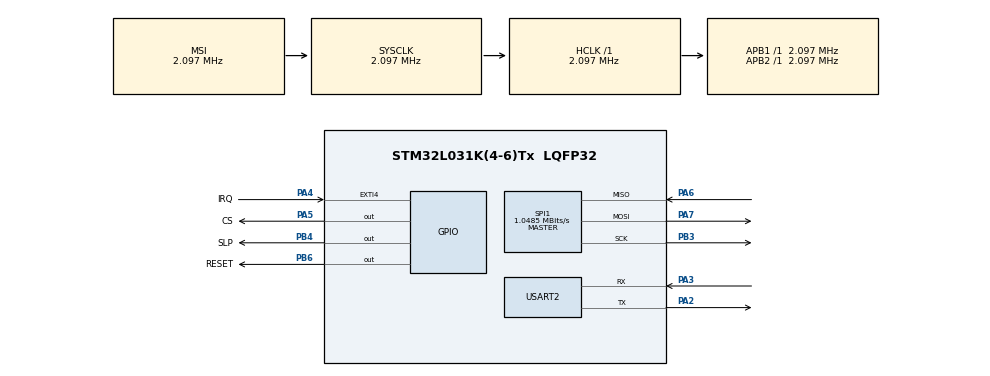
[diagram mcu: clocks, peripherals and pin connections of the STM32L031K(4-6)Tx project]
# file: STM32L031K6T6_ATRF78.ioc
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Mcu.Family=STM32L0
Mcu.Name=STM32L031K(4-6)Tx
Mcu.Package=LQFP32
NVIC.EXTI4_15_IRQn=true\:0\:0\:false\:false\:true\:true\:true\:true
PA2.Mode=Asynchronous
PA2.Signal=USART2_TX
PA3.Mode=Asynchronous
PA3.Signal=USART2_RX
PA4.GPIO_Label=IRQ
PA4.Signal=GPXTI4
PA5.GPIO_Label=CS
PA5.Signal=GPIO_Output
PA6.Mode=Full_Duplex_Master
PA6.Signal=SPI1_MISO
PA7.Mode=Full_Duplex_Master
PA7.Signal=SPI1_MOSI
PB3.Mode=Full_Duplex_Master
PB3.Signal=SPI1_SCK
PB4.GPIO_Label=SLP
PB4.Signal=GPIO_Output
PB6.GPIO_Label=RESET
PB6.Signal=GPIO_Output
ProjectManager.HeapSize=0x200
ProjectManager.StackSize=0x400
ProjectManager.TargetToolchain=STM32CubeIDE
RCC.AHBFreq_Value=2097000
RCC.APB1Freq_Value=2097000
RCC.APB1TimFreq_Value=2097000
RCC.APB2Freq_Value=2097000
RCC.APB2TimFreq_Value=2097000
RCC.HSE_VALUE=8000000
RCC.HSI16_VALUE=16000000
RCC.HSI_VALUE=16000000
RCC.LSE_VALUE=32768
RCC.MSI_VALUE=2097000
RCC.SYSCLKFreq_VALUE=2097000
RCC.VCOOutputFreq_Value=48000000
SPI1.CalculateBaudRate=1.0485 MBits/s
SPI1.Direction=SPI_DIRECTION_2LINES
SPI1.Mode=SPI_MODE_MASTER
SPI1.VirtualType=VM_MASTER
USART2.VirtualMode-Asynchronous=VM_ASYNC
board=custom

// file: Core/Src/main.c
/* USER CODE BEGIN Header */
/**
 ******************************************************************************
 * @file           : main.c
 * @brief          : Main program body
 ******************************************************************************
 * @attention
 *
 * Copyright (c) 2026 STMicroelectronics.
 * All rights reserved.
 *
 * This software is licensed under terms that can be found in the LICENSE file
 * in the root directory of this software component.
 * If no LICENSE file comes with this software, it is provided AS-IS.
 *
 ******************************************************************************
 */
/* USER CODE END Header */
#include "main.h"
#include "spi.h"
#include "usart.h"
#include "gpio.h"

/* USER CODE BEGIN PTD */

#define RSSI_THRESHOLD       4    // порог для RADIO CLOSE
#define RSSI_ON_COUNT        50   // сколько подтверждений нужно для включения
#define RSSI_OFF_COUNT       150   // сколько подтверждений нужно для выключения
#define RSSI_THRESHOLD_LOW   1
#define RSSI_THRESHOLD_CLOSE 6    // порог для RADIO NEAR

/* USER CODE END PTD */

/* USER CODE BEGIN PM */

// Перечисление возможных состояний связи
typedef enum {
	STATE_LOST, STATE_CLOSE, STATE_NEAR
} connection_state_t;

volatile uint32_t last_connected_change_ms = 0;

/* counters for debounce */
static uint8_t rssi_ok_count = 0;   // счётчик для CLOSE (RSSI >=4)
static uint8_t rssi_near_count = 0;   // счётчик для NEAR (RSSI >=6)
static uint8_t rssi_low_count = 0;   // счётчик для LOST

static connection_state_t current_state = STATE_LOST;
static uint8_t led_state = 0;     // 1 – есть связь (CLOSE или NEAR), 0 – потеря

/* USER CODE END PTD */

/* Private define ------------------------------------------------------------*/
/* USER CODE BEGIN PD */

/* USER CODE END PD */

/* Private macro -------------------------------------------------------------*/
/* USER CODE BEGIN PM */

/* USER CODE END PM */

void SystemClock_Config(void);

/* USER CODE BEGIN 0 */
void HAL_GPIO_EXTI_Callback(uint16_t GPIO_Pin) {
	if (GPIO_Pin == IRQ_Pin) {
		last_connected_change_ms = HAL_GetTick();

		uint8_t irq = readRegister(AT86RF2XX_REG__IRQ_STATUS);

		if (irq & AT86RF2XX_IRQ_STATUS_MASK__TRX_END) {
			uint8_t rssi_raw = readRegister(0x07);

			// ---- Обработка уровней RSSI с антидребезгом ----
			if (rssi_raw >= RSSI_THRESHOLD_CLOSE) {
				// NEAR (RSSI >= 6)
				rssi_near_count++;
				rssi_ok_count = 0;
				rssi_low_count = 0;

				if (rssi_near_count >= RSSI_ON_COUNT) {
					// достигнут порог для NEAR
					if (current_state != STATE_NEAR) {
						// меняем состояние и отправляем сообщение
						current_state = STATE_NEAR;
						led_state = 1;
						HAL_UART_Transmit(&huart2, (uint8_t*) "RADIO NEAR\r\n",
								12, HAL_MAX_DELAY);
					}
				}
			} else if (rssi_raw >= RSSI_THRESHOLD) {
				// CLOSE (4 <= RSSI < 6)
				rssi_ok_count++;
				rssi_near_count = 0;
				rssi_low_count = 0;

				if (rssi_ok_count >= RSSI_ON_COUNT) {
					if (current_state != STATE_CLOSE) {
						current_state = STATE_CLOSE;
						led_state = 1;
						HAL_UART_Transmit(&huart2, (uint8_t*) "RADIO CLOSE\r\n",
								13, HAL_MAX_DELAY);
					}
				}
			} else if (rssi_raw <= RSSI_THRESHOLD_LOW) {
				// LOST
				rssi_low_count++;
				rssi_ok_count = 0;
				rssi_near_count = 0;

				if (rssi_low_count >= RSSI_OFF_COUNT) {
					if (current_state != STATE_LOST) {
						current_state = STATE_LOST;
						led_state = 0;
						HAL_UART_Transmit(&huart2, (uint8_t*) "RADIO LOST\r\n",
								12, HAL_MAX_DELAY);
					}
				}
			} else {
				// RSSI в промежуточной зоне (между 2 и 3) – сбрасываем все счётчики, но состояние не меняем
				rssi_ok_count = 0;
				rssi_near_count = 0;
				rssi_low_count = 0;
			}
		}
	}
}

/* USER CODE END 0 */

int main(void) {

	/* MCU Configuration--------------------------------------------------------*/

	/* Reset of all peripherals, Initializes the Flash interface and the Systick. */
	HAL_Init();

	/* Configure the system clock */
	SystemClock_Config();

	/* Initialize all configured peripherals */
	MX_GPIO_Init();
	MX_SPI1_Init();
	MX_USART2_UART_Init();
	/* USER CODE BEGIN 2 */

	at86rf233_init(AT_RX);
	/* USER CODE END 2 */

	/* Infinite loop */
	/* USER CODE BEGIN WHILE */
	uint32_t last_status_send_ms = HAL_GetTick();
	while (1) {
		uint32_t now = HAL_GetTick();

		// fail-safe: если давно не было прерываний и связь считалась установленной – сбрасываем в LOST
		if ((current_state != STATE_LOST)
				&& (now - last_connected_change_ms) > 5000
				&& now > last_connected_change_ms) {
			current_state = STATE_LOST;
			led_state = 0;
			rssi_ok_count = 0;
			rssi_near_count = 0;
			rssi_low_count = 0;
			for (int i = 0; i < 4; i++) {
				HAL_UART_Transmit(&huart2, (uint8_t*) "RADIO LOST\r\n", 12,
						HAL_MAX_DELAY);
				HAL_Delay(100);
			}
		}
		if ((now - last_status_send_ms) >= 2000) {
			last_status_send_ms = now;
			char msg[64];
			const char *state_str;
			switch (current_state) {
			case STATE_NEAR:
				state_str = "RADIO_NEAR";
				break;
			case STATE_CLOSE:
				state_str = "RADIO_CLOSE";
				break;
			default:
				state_str = "RADIO_LOST";
				break;
			}

			HAL_UART_Transmit(&huart2, (uint8_t*) state_str, strlen(state_str),
					HAL_MAX_DELAY);

		}

		/* USER CODE END WHILE */

	}
}

void SystemClock_Config(void) {
	RCC_OscInitTypeDef RCC_OscInitStruct = { 0 };
	RCC_ClkInitTypeDef RCC_ClkInitStruct = { 0 };
	RCC_PeriphCLKInitTypeDef PeriphClkInit = { 0 };

	/** Configure the main internal regulator output voltage
	 */
	__HAL_PWR_VOLTAGESCALING_CONFIG(PWR_REGULATOR_VOLTAGE_SCALE1);

	/** Initializes the RCC Oscillators according to the specified parameters
	 * in the RCC_OscInitTypeDef structure.
	 */
	RCC_OscInitStruct.OscillatorType = RCC_OSCILLATORTYPE_MSI;
	RCC_OscInitStruct.MSIState = RCC_MSI_ON;
	RCC_OscInitStruct.MSICalibrationValue = 0;
	RCC_OscInitStruct.MSIClockRange = RCC_MSIRANGE_5;
	RCC_OscInitStruct.PLL.PLLState = RCC_PLL_NONE;
	if (HAL_RCC_OscConfig(&RCC_OscInitStruct) != HAL_OK) {
		Error_Handler();
	}

	/** Initializes the CPU, AHB and APB buses clocks
	 */
	RCC_ClkInitStruct.ClockType = RCC_CLOCKTYPE_HCLK | RCC_CLOCKTYPE_SYSCLK
			| RCC_CLOCKTYPE_PCLK1 | RCC_CLOCKTYPE_PCLK2;
	RCC_ClkInitStruct.SYSCLKSource = RCC_SYSCLKSOURCE_MSI;
	RCC_ClkInitStruct.AHBCLKDivider = RCC_SYSCLK_DIV1;
	RCC_ClkInitStruct.APB1CLKDivider = RCC_HCLK_DIV1;
	RCC_ClkInitStruct.APB2CLKDivider = RCC_HCLK_DIV1;

	if (HAL_RCC_ClockConfig(&RCC_ClkInitStruct, FLASH_LATENCY_0) != HAL_OK) {
		Error_Handler();
	}
	PeriphClkInit.PeriphClockSelection = RCC_PERIPHCLK_USART2;
	PeriphClkInit.Usart2ClockSelection = RCC_USART2CLKSOURCE_PCLK1;
	if (HAL_RCCEx_PeriphCLKConfig(&PeriphClkInit) != HAL_OK) {
		Error_Handler();
	}
}

void Error_Handler(void) {
	__disable_irq();
	while (1) {
	}
}
